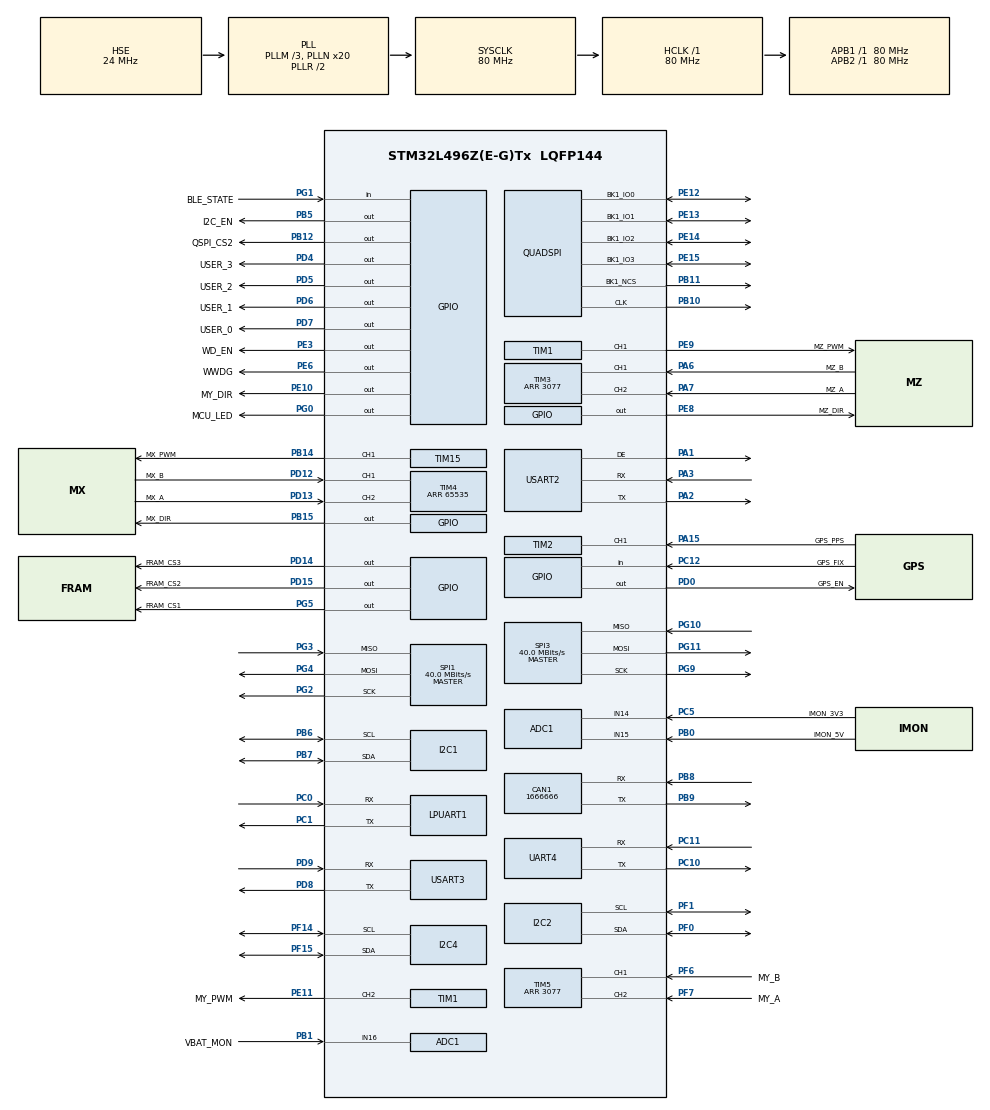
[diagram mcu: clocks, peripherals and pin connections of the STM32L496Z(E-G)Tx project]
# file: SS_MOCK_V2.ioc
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ADC1.Channel-0\#ChannelRegularConversion=ADC_CHANNEL_16
ADC1.NbrOfConversionFlag=1
ADC1.OffsetNumber-0\#ChannelRegularConversion=ADC_OFFSET_NONE
ADC1.Rank-0\#ChannelRegularConversion=1
ADC1.SamplingTime-0\#ChannelRegularConversion=ADC_SAMPLETIME_2CYCLES_5
ADC1.master=1
CAN1.BS1=CAN_BS1_1TQ
CAN1.BS2=CAN_BS2_1TQ
CAN1.CalculateBaudRate=1666666
CAN1.CalculateTimeBit=600
CAN1.CalculateTimeQuantum=200.0
I2C1.Timing=0x10D19CE4
I2C2.Timing=0x10D19CE4
I2C4.Timing=0x10D19CE4
Mcu.Family=STM32L4
Mcu.Name=STM32L496Z(E-G)Tx
Mcu.Package=LQFP144
NVIC.PriorityGroup=NVIC_PRIORITYGROUP_4
NVIC.TIM7_IRQn=true\:0\:0\:false\:false\:true\:true\:true\:true
PA1.Mode=Hardware Flow Control (RS485)
PA1.Signal=USART2_DE
PA13\ (JTMS/SWDIO).Mode=Trace_Asynchronous_SW
PA13\ (JTMS/SWDIO).Signal=SYS_JTMS-SWDIO
PA14\ (JTCK/SWCLK).Mode=Trace_Asynchronous_SW
PA14\ (JTCK/SWCLK).Signal=SYS_JTCK-SWCLK
PA15\ (JTDI).GPIO_Label=GPS_PPS
PA15\ (JTDI).Signal=S_TIM2_CH1
PA2.Mode=Asynchronous
PA2.Signal=USART2_TX
PA3.Mode=Asynchronous
PA3.Signal=USART2_RX
PA6.GPIO_Label=MZ_B
PA6.Signal=S_TIM3_CH1
PA7.GPIO_Label=MZ_A
PA7.Signal=S_TIM3_CH2
PB0.GPIO_Label=IMON_5V
PB0.Signal=ADCx_IN15
PB1.GPIO_Label=VBAT_MON
PB1.Signal=ADCx_IN16
PB10.Mode=Single Bank 1
PB10.Signal=QUADSPI_CLK
PB11.Mode=Single Bank 1
PB11.Signal=QUADSPI_BK1_NCS
PB12.GPIO_Label=QSPI_CS2
PB12.Signal=GPIO_Output
PB14.GPIO_Label=MX_PWM
PB14.Signal=S_TIM15_CH1
PB15.GPIO_Label=MX_DIR
PB15.Signal=GPIO_Output
PB3\ (JTDO/TRACESWO).Mode=Trace_Asynchronous_SW
PB3\ (JTDO/TRACESWO).Signal=SYS_JTDO-SWO
PB5.GPIO_Label=I2C_EN
PB5.Signal=GPIO_Output
PB6.Mode=I2C
PB6.Signal=I2C1_SCL
PB7.Mode=I2C
PB7.Signal=I2C1_SDA
PB8.Mode=CAN_Activate
PB8.Signal=CAN1_RX
PB9.Mode=CAN_Activate
PB9.Signal=CAN1_TX
PC0.Mode=Asynchronous
PC0.Signal=LPUART1_RX
PC1.Mode=Asynchronous
PC1.Signal=LPUART1_TX
PC10.Mode=Asynchronous
PC10.Signal=UART4_TX
PC11.Mode=Asynchronous
PC11.Signal=UART4_RX
PC12.GPIO_Label=GPS_FIX
PC12.Signal=GPIO_Input
PC14-OSC32_IN\ (PC14).Mode=LSE-External-Oscillator
PC14-OSC32_IN\ (PC14).Signal=RCC_OSC32_IN
PC15-OSC32_OUT\ (PC15).Mode=LSE-External-Oscillator
PC15-OSC32_OUT\ (PC15).Signal=RCC_OSC32_OUT
PC5.GPIO_Label=IMON_3V3
PC5.Signal=ADCx_IN14
PD0.GPIO_Label=GPS_EN
PD0.Signal=GPIO_Output
PD12.GPIO_Label=MX_B
PD12.Signal=S_TIM4_CH1
PD13.GPIO_Label=MX_A
PD13.Signal=S_TIM4_CH2
PD14.GPIO_Label=FRAM_CS3
PD14.Signal=GPIO_Output
PD15.GPIO_Label=FRAM_CS2
PD15.Signal=GPIO_Output
PD4.GPIO_Label=USER_3
PD4.Signal=GPIO_Output
PD5.GPIO_Label=USER_2
PD5.Signal=GPIO_Output
PD6.GPIO_Label=USER_1
PD6.Signal=GPIO_Output
PD7.GPIO_Label=USER_0
PD7.Signal=GPIO_Output
PD8.Mode=Asynchronous
PD8.Signal=USART3_TX
PD9.Mode=Asynchronous
PD9.Signal=USART3_RX
PE10.GPIO_Label=MY_DIR
PE10.Signal=GPIO_Output
PE11.GPIO_Label=MY_PWM
PE11.Signal=S_TIM1_CH2
PE12.Mode=Single Bank 1
PE12.Signal=QUADSPI_BK1_IO0
PE13.Mode=Single Bank 1
PE13.Signal=QUADSPI_BK1_IO1
PE14.Mode=Single Bank 1
PE14.Signal=QUADSPI_BK1_IO2
PE15.Mode=Single Bank 1
PE15.Signal=QUADSPI_BK1_IO3
PE3.GPIO_Label=WD_EN
PE3.Signal=GPIO_Output
PE6.GPIO_Label=WWDG
PE6.Signal=GPIO_Output
PE8.GPIO_Label=MZ_DIR
PE8.Signal=GPIO_Output
PE9.GPIO_Label=MZ_PWM
PE9.Signal=S_TIM1_CH1
PF0.Mode=I2C
PF0.Signal=I2C2_SDA
PF1.Mode=I2C
PF1.Signal=I2C2_SCL
PF14.Mode=I2C
PF14.Signal=I2C4_SCL
PF15.Mode=I2C
PF15.Signal=I2C4_SDA
PF6.GPIO_Label=MY_B
PF6.Signal=S_TIM5_CH1
PF7.GPIO_Label=MY_A
PF7.Signal=S_TIM5_CH2
PG0.GPIO_Label=MCU_LED
PG0.Signal=GPIO_Output
PG1.GPIO_Label=BLE_STATE
PG1.Signal=GPIO_Input
PG10.Mode=Full_Duplex_Master
PG10.Signal=SPI3_MISO
PG11.Mode=Full_Duplex_Master
PG11.Signal=SPI3_MOSI
PG2.Mode=Full_Duplex_Master
PG2.Signal=SPI1_SCK
PG3.Mode=Full_Duplex_Master
PG3.Signal=SPI1_MISO
PG4.Mode=Full_Duplex_Master
PG4.Signal=SPI1_MOSI
PG5.GPIO_Label=FRAM_CS1
PG5.Signal=GPIO_Output
PG9.Mode=Full_Duplex_Master
PG9.Signal=SPI3_SCK
PH0-OSC_IN\ (PH0).Mode=HSE-External-Oscillator
PH0-OSC_IN\ (PH0).Signal=RCC_OSC_IN
PH1-OSC_OUT\ (PH1).Mode=HSE-External-Oscillator
PH1-OSC_OUT\ (PH1).Signal=RCC_OSC_OUT
ProjectManager.HeapSize=0x200
ProjectManager.StackSize=0x400
ProjectManager.TargetToolchain=STM32CubeIDE
RCC.ADCFreq_Value=32000000
RCC.AHBFreq_Value=80000000
RCC.APB1Freq_Value=80000000
RCC.APB1TimFreq_Value=80000000
RCC.APB2Freq_Value=80000000
RCC.APB2TimFreq_Value=80000000
RCC.CortexFreq_Value=80000000
RCC.HCLKFreq_Value=80000000
RCC.HSE_VALUE=24000000
RCC.HSI48_VALUE=48000000
RCC.HSI_VALUE=16000000
RCC.MSI_VALUE=4000000
RCC.PLLM=3
RCC.PLLN=20
RCC.PLLSourceVirtual=RCC_PLLSOURCE_HSE
RCC.SYSCLKFreq_VALUE=80000000
RCC.SYSCLKSource=RCC_SYSCLKSOURCE_PLLCLK
RCC.USBFreq_Value=32000000
RCC.VCOOutputFreq_Value=160000000
SH.ADCx_IN14.0=ADC1_IN14,IN14-Single-Ended
SH.ADCx_IN15.0=ADC1_IN15,IN15-Single-Ended
SH.ADCx_IN16.0=ADC1_IN16,IN16-Single-Ended
SH.S_TIM15_CH1.0=TIM15_CH1,PWM Generation1 CH1
SH.S_TIM1_CH1.0=TIM1_CH1,PWM Generation1 CH1
SH.S_TIM1_CH2.0=TIM1_CH2,PWM Generation2 CH2
SH.S_TIM2_CH1.0=TIM2_CH1,Input_Capture1_from_TI1
SH.S_TIM3_CH1.0=TIM3_CH1,Encoder_Interface
SH.S_TIM3_CH2.0=TIM3_CH2,Encoder_Interface
SH.S_TIM4_CH1.0=TIM4_CH1,Encoder_Interface
SH.S_TIM4_CH2.0=TIM4_CH2,Encoder_Interface
SH.S_TIM5_CH1.0=TIM5_CH1,Encoder_Interface
SH.S_TIM5_CH2.0=TIM5_CH2,Encoder_Interface
SPI1.BaudRatePrescaler=SPI_BAUDRATEPRESCALER_2
SPI1.CalculateBaudRate=40.0 MBits/s
SPI1.Direction=SPI_DIRECTION_2LINES
SPI1.Mode=SPI_MODE_MASTER
SPI1.VirtualType=VM_MASTER
SPI3.BaudRatePrescaler=SPI_BAUDRATEPRESCALER_2
SPI3.CalculateBaudRate=40.0 MBits/s
SPI3.Direction=SPI_DIRECTION_2LINES
SPI3.Mode=SPI_MODE_MASTER
SPI3.VirtualType=VM_MASTER
TIM1.AutoReloadPreload=TIM_AUTORELOAD_PRELOAD_ENABLE
TIM1.Channel-PWM\ Generation1\ CH1=TIM_CHANNEL_1
TIM1.Channel-PWM\ Generation2\ CH2=TIM_CHANNEL_2
TIM1.Period=3077
TIM15.AutoReloadPreload=TIM_AUTORELOAD_PRELOAD_ENABLE
TIM15.Channel-PWM\ Generation1\ CH1=TIM_CHANNEL_1
TIM15.Period=3077
TIM2.Channel-Input_Capture1_from_TI1=TIM_CHANNEL_1
TIM3.Period=3077
TIM4.Period=65535
TIM5.Period=3077
TIM7.Prescaler=15
USART2.VirtualMode-Asynchronous=VM_ASYNC
USART2.VirtualMode-Hardware\ Flow\ Control\ (RS485)=VM_ASYNC
USART3.VirtualMode-Asynchronous=VM_ASYNC
VP_TIM1_VS_ClockSourceINT.Mode=Internal
VP_TIM7_VS_ClockSourceINT.Mode=Enable_Timer
board=custom

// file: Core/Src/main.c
/* USER CODE BEGIN Header */
/**
  ******************************************************************************
  * @file           : main.c
  * @brief          : Main program body
  ******************************************************************************
  * @attention
  *
  * Copyright (c) 2025 STMicroelectronics.
  * All rights reserved.
  *
  * This software is licensed under terms that can be found in the LICENSE file
  * in the root directory of this software component.
  * If no LICENSE file comes with this software, it is provided AS-IS.
  *
  ******************************************************************************
  */
/* USER CODE END Header */
#include "main.h"

/* USER CODE BEGIN Includes */

#include "bno055.h"
#include "bno055_regs.h"
#include "mcp9808.h"
#include "LTR-329.h"
#include "motorencoder.h"
#include "motordrivers.h"

/* USER CODE END Includes */

/* USER CODE BEGIN PD */
//#define ENCODER_MAX_COUNT 50000

/* USER CODE END PD */

ADC_HandleTypeDef hadc1;

CAN_HandleTypeDef hcan1;

I2C_HandleTypeDef hi2c1;
I2C_HandleTypeDef hi2c2;
I2C_HandleTypeDef hi2c4;

UART_HandleTypeDef hlpuart1;
UART_HandleTypeDef huart4;
UART_HandleTypeDef huart2;
UART_HandleTypeDef huart3;

QSPI_HandleTypeDef hqspi;

SPI_HandleTypeDef hspi1;
SPI_HandleTypeDef hspi3;

TIM_HandleTypeDef htim1;
TIM_HandleTypeDef htim2;
TIM_HandleTypeDef htim3;
TIM_HandleTypeDef htim4;
TIM_HandleTypeDef htim5;
TIM_HandleTypeDef htim7;
TIM_HandleTypeDef htim15;

void SystemClock_Config(void);
static void MX_GPIO_Init(void);
static void MX_QUADSPI_Init(void);
static void MX_TIM1_Init(void);
static void MX_TIM3_Init(void);
static void MX_TIM4_Init(void);
static void MX_TIM5_Init(void);
static void MX_UART4_Init(void);
static void MX_CAN1_Init(void);
static void MX_I2C2_Init(void);
static void MX_TIM2_Init(void);
static void MX_USART2_UART_Init(void);
static void MX_USART3_UART_Init(void);
static void MX_ADC1_Init(void);
static void MX_I2C4_Init(void);
static void MX_LPUART1_UART_Init(void);
static void MX_SPI3_Init(void);
static void MX_I2C1_Init(void);
static void MX_SPI1_Init(void);
static void MX_TIM15_Init(void);
static void MX_TIM7_Init(void);

/* USER CODE BEGIN 0 */

BNO055_Axis_Vec_t          BNO055_Vector;

typedef enum{
    CCW,
    CW
} ORIENTATION_DIR;

ORIENTATION_DIR initialDir = CW;
float curr_reading = 0.0;

void average(float* y_avg, float* z_avg, uint8_t sample_size){

    *y_avg = 0;
    *z_avg = 0;

    for(uint8_t i = 0; i < sample_size; i++){
        BNO055_Get_Gravity_Vec(&BNO055_Vector);
        *y_avg += BNO055_Vector.y;
        *z_avg += BNO055_Vector.z;
        HAL_Delay(12);
    }
    *y_avg /= (float)sample_size;
    *z_avg /= (float)sample_size;
}

ORIENTATION_DIR getDir(float y){
    return (y > 0) ? CCW : CW;
}

//Encoder Variables and Call
/*
int32_t deltacount;
uint32_t counter = 0;
uint32_t previousCounter = 0;

float velocity = 0;
*/
// if have more motors just change variable name and add more variables
static motor_var_enc motor_x_var;
static motor_var_enc motor_y_var;
static motor_var_enc motor_z_var;

static Motor X_Motor;
static Motor Y_Motor;
static Motor Z_Motor;

LTR_329 SunSensor;
MCP_9808 TempSensor;

// adrian was here
/* USER CODE END 0 */

int main(void)
{

  /* USER CODE BEGIN 1 */

    /* Custom Axis */
    BNO055_AXIS_CONFIG_t axis_config = {.x = BNO055_Z_AXIS,
                                        .y = BNO055_Y_AXIS,
                                        .z = BNO055_X_AXIS};

  /* USER CODE END 1 */

  /* MCU Configuration--------------------------------------------------------*/

  /* Reset of all peripherals, Initializes the Flash interface and the Systick. */
  HAL_Init();

  /* Configure the system clock */
  SystemClock_Config();

  /* Initialize all configured peripherals */
  MX_GPIO_Init();
  MX_QUADSPI_Init();
  MX_TIM1_Init();
  MX_TIM3_Init();
  MX_TIM4_Init();
  MX_TIM5_Init();
  MX_UART4_Init();
  MX_CAN1_Init();
  MX_I2C2_Init();
  MX_TIM2_Init();
  MX_USART2_UART_Init();
  MX_USART3_UART_Init();
  MX_ADC1_Init();
  MX_I2C4_Init();
  MX_LPUART1_UART_Init();
  MX_SPI3_Init();
  MX_I2C1_Init();
  MX_SPI1_Init();
  MX_TIM15_Init();
  MX_TIM7_Init();
  /* USER CODE BEGIN 2 */

  //IMU STUFF
  BNO055_I2C_Mount(&hi2c2);
  if(BNO055_Init() != BNO055_SUCCESS)
      while(1);
  if(BNO055_Set_OP_Mode(NDOF) != BNO055_SUCCESS)
      while(1);
  if(BNO055_Set_Axis(&axis_config) != BNO055_SUCCESS)
      while(1);

  float y_avg = 0.0;
  float z_avg = 0.0;

  //MOTOR CONTROLLER INIT
  init_default_motor(&X_Motor, &htim15, TIM_CHANNEL_1, GPIOB, GPIO_PIN_15);
  init_default_motor(&Y_Motor, &htim1, TIM_CHANNEL_2, GPIOE, GPIO_PIN_11);
  init_default_motor(&Z_Motor, &htim1, TIM_CHANNEL_1, GPIOE, GPIO_PIN_9);

  //starts encoder for all x,y,z listed from top to bottom
  Motor_Enc_Start(&htim4);
  Motor_Enc_Start(&htim5);
  Motor_Enc_Start(&htim3);

  //initializes the variables within the motor calc
  Motor_Enc_Init(&motor_x_var);
  Motor_Enc_Init(&motor_y_var);
  Motor_Enc_Init(&motor_z_var);

  //tim 7 is a 10ms interrupt flag
  HAL_TIM_Base_Start_IT(&htim7);

  //tempsensor init
  //check if this is the correct i2c for it
  uint8_t TempInitStatus = MCP_9808_Init(&hi2c1);

  if (TempInitStatus != 0){
      // Sensor initialization failed
      Error_Handler();
  }

  //starts the pwm
  //HAL_TIM_PWM_Start(&htim15, TIM_CHANNEL_1);

  //HAL_GPIO_WritePin(GPIOE, WD_EN_Pin, SET);
  /* USER CODE END 2 */

  /* Infinite loop */
  /* USER CODE BEGIN WHILE */
  while (1)
  {

	HAL_GPIO_TogglePin(MCU_LED_GPIO_Port, MCU_LED_Pin);
	MCP_9808_ReadTemp(&TempSensor);
	HAL_Delay(1000);
/*
	//driving motor

	drive_motor(&X_Motor, 1);
	drive_motor(&Y_Motor, 0.5);
	drive_motor(&Z_Motor, 0.25);
*/

  }

    /* USER CODE END WHILE */

}

void SystemClock_Config(void)
{
  RCC_OscInitTypeDef RCC_OscInitStruct = {0};
  RCC_ClkInitTypeDef RCC_ClkInitStruct = {0};

  /** Configure the main internal regulator output voltage
  */
  if (HAL_PWREx_ControlVoltageScaling(PWR_REGULATOR_VOLTAGE_SCALE1) != HAL_OK)
  {
    Error_Handler();
  }

  /** Initializes the RCC Oscillators according to the specified parameters
  * in the RCC_OscInitTypeDef structure.
  */
  RCC_OscInitStruct.OscillatorType = RCC_OSCILLATORTYPE_HSE;
  RCC_OscInitStruct.HSEState = RCC_HSE_ON;
  RCC_OscInitStruct.PLL.PLLState = RCC_PLL_ON;
  RCC_OscInitStruct.PLL.PLLSource = RCC_PLLSOURCE_HSE;
  RCC_OscInitStruct.PLL.PLLM = 3;
  RCC_OscInitStruct.PLL.PLLN = 20;
  RCC_OscInitStruct.PLL.PLLP = RCC_PLLP_DIV2;
  RCC_OscInitStruct.PLL.PLLQ = RCC_PLLQ_DIV2;
  RCC_OscInitStruct.PLL.PLLR = RCC_PLLR_DIV2;
  if (HAL_RCC_OscConfig(&RCC_OscInitStruct) != HAL_OK)
  {
    Error_Handler();
  }

  /** Initializes the CPU, AHB and APB buses clocks
  */
  RCC_ClkInitStruct.ClockType = RCC_CLOCKTYPE_HCLK|RCC_CLOCKTYPE_SYSCLK
                              |RCC_CLOCKTYPE_PCLK1|RCC_CLOCKTYPE_PCLK2;
  RCC_ClkInitStruct.SYSCLKSource = RCC_SYSCLKSOURCE_PLLCLK;
  RCC_ClkInitStruct.AHBCLKDivider = RCC_SYSCLK_DIV1;
  RCC_ClkInitStruct.APB1CLKDivider = RCC_HCLK_DIV1;
  RCC_ClkInitStruct.APB2CLKDivider = RCC_HCLK_DIV1;

  if (HAL_RCC_ClockConfig(&RCC_ClkInitStruct, FLASH_LATENCY_4) != HAL_OK)
  {
    Error_Handler();
  }
}

static void MX_ADC1_Init(void)
{

  ADC_MultiModeTypeDef multimode = {0};
  ADC_ChannelConfTypeDef sConfig = {0};

  /** Common config
  */
  hadc1.Instance = ADC1;
  hadc1.Init.ClockPrescaler = ADC_CLOCK_ASYNC_DIV1;
  hadc1.Init.Resolution = ADC_RESOLUTION_12B;
  hadc1.Init.DataAlign = ADC_DATAALIGN_RIGHT;
  hadc1.Init.ScanConvMode = ADC_SCAN_DISABLE;
  hadc1.Init.EOCSelection = ADC_EOC_SINGLE_CONV;
  hadc1.Init.LowPowerAutoWait = DISABLE;
  hadc1.Init.ContinuousConvMode = DISABLE;
  hadc1.Init.NbrOfConversion = 1;
  hadc1.Init.DiscontinuousConvMode = DISABLE;
  hadc1.Init.ExternalTrigConv = ADC_SOFTWARE_START;
  hadc1.Init.ExternalTrigConvEdge = ADC_EXTERNALTRIGCONVEDGE_NONE;
  hadc1.Init.DMAContinuousRequests = DISABLE;
  hadc1.Init.Overrun = ADC_OVR_DATA_PRESERVED;
  hadc1.Init.OversamplingMode = DISABLE;
  if (HAL_ADC_Init(&hadc1) != HAL_OK)
  {
    Error_Handler();
  }

  /** Configure the ADC multi-mode
  */
  multimode.Mode = ADC_MODE_INDEPENDENT;
  if (HAL_ADCEx_MultiModeConfigChannel(&hadc1, &multimode) != HAL_OK)
  {
    Error_Handler();
  }

  /** Configure Regular Channel
  */
  sConfig.Channel = ADC_CHANNEL_16;
  sConfig.Rank = ADC_REGULAR_RANK_1;
  sConfig.SamplingTime = ADC_SAMPLETIME_2CYCLES_5;
  sConfig.SingleDiff = ADC_SINGLE_ENDED;
  sConfig.OffsetNumber = ADC_OFFSET_NONE;
  sConfig.Offset = 0;
  if (HAL_ADC_ConfigChannel(&hadc1, &sConfig) != HAL_OK)
  {
    Error_Handler();
  }

}

static void MX_CAN1_Init(void)
{

  hcan1.Instance = CAN1;
  hcan1.Init.Prescaler = 16;
  hcan1.Init.Mode = CAN_MODE_NORMAL;
  hcan1.Init.SyncJumpWidth = CAN_SJW_1TQ;
  hcan1.Init.TimeSeg1 = CAN_BS1_1TQ;
  hcan1.Init.TimeSeg2 = CAN_BS2_1TQ;
  hcan1.Init.TimeTriggeredMode = DISABLE;
  hcan1.Init.AutoBusOff = DISABLE;
  hcan1.Init.AutoWakeUp = DISABLE;
  hcan1.Init.AutoRetransmission = DISABLE;
  hcan1.Init.ReceiveFifoLocked = DISABLE;
  hcan1.Init.TransmitFifoPriority = DISABLE;
  if (HAL_CAN_Init(&hcan1) != HAL_OK)
  {
    Error_Handler();
  }

}

static void MX_I2C1_Init(void)
{

  hi2c1.Instance = I2C1;
  hi2c1.Init.Timing = 0x10D19CE4;
  hi2c1.Init.OwnAddress1 = 0;
  hi2c1.Init.AddressingMode = I2C_ADDRESSINGMODE_7BIT;
  hi2c1.Init.DualAddressMode = I2C_DUALADDRESS_DISABLE;
  hi2c1.Init.OwnAddress2 = 0;
  hi2c1.Init.OwnAddress2Masks = I2C_OA2_NOMASK;
  hi2c1.Init.GeneralCallMode = I2C_GENERALCALL_DISABLE;
  hi2c1.Init.NoStretchMode = I2C_NOSTRETCH_DISABLE;
  if (HAL_I2C_Init(&hi2c1) != HAL_OK)
  {
    Error_Handler();
  }

  /** Configure Analogue filter
  */
  if (HAL_I2CEx_ConfigAnalogFilter(&hi2c1, I2C_ANALOGFILTER_ENABLE) != HAL_OK)
  {
    Error_Handler();
  }

  /** Configure Digital filter
  */
  if (HAL_I2CEx_ConfigDigitalFilter(&hi2c1, 0) != HAL_OK)
  {
    Error_Handler();
  }

}

static void MX_I2C2_Init(void)
{

  hi2c2.Instance = I2C2;
  hi2c2.Init.Timing = 0x10D19CE4;
  hi2c2.Init.OwnAddress1 = 0;
  hi2c2.Init.AddressingMode = I2C_ADDRESSINGMODE_7BIT;
  hi2c2.Init.DualAddressMode = I2C_DUALADDRESS_DISABLE;
  hi2c2.Init.OwnAddress2 = 0;
  hi2c2.Init.OwnAddress2Masks = I2C_OA2_NOMASK;
  hi2c2.Init.GeneralCallMode = I2C_GENERALCALL_DISABLE;
  hi2c2.Init.NoStretchMode = I2C_NOSTRETCH_DISABLE;
  if (HAL_I2C_Init(&hi2c2) != HAL_OK)
  {
    Error_Handler();
  }

  /** Configure Analogue filter
  */
  if (HAL_I2CEx_ConfigAnalogFilter(&hi2c2, I2C_ANALOGFILTER_ENABLE) != HAL_OK)
  {
    Error_Handler();
  }

  /** Configure Digital filter
  */
  if (HAL_I2CEx_ConfigDigitalFilter(&hi2c2, 0) != HAL_OK)
  {
    Error_Handler();
  }

}

static void MX_I2C4_Init(void)
{

  hi2c4.Instance = I2C4;
  hi2c4.Init.Timing = 0x10D19CE4;
  hi2c4.Init.OwnAddress1 = 0;
  hi2c4.Init.AddressingMode = I2C_ADDRESSINGMODE_7BIT;
  hi2c4.Init.DualAddressMode = I2C_DUALADDRESS_DISABLE;
  hi2c4.Init.OwnAddress2 = 0;
  hi2c4.Init.OwnAddress2Masks = I2C_OA2_NOMASK;
  hi2c4.Init.GeneralCallMode = I2C_GENERALCALL_DISABLE;
  hi2c4.Init.NoStretchMode = I2C_NOSTRETCH_DISABLE;
  if (HAL_I2C_Init(&hi2c4) != HAL_OK)
  {
    Error_Handler();
  }

  /** Configure Analogue filter
  */
  if (HAL_I2CEx_ConfigAnalogFilter(&hi2c4, I2C_ANALOGFILTER_ENABLE) != HAL_OK)
  {
    Error_Handler();
  }

  /** Configure Digital filter
  */
  if (HAL_I2CEx_ConfigDigitalFilter(&hi2c4, 0) != HAL_OK)
  {
    Error_Handler();
  }

}

static void MX_LPUART1_UART_Init(void)
{

  hlpuart1.Instance = LPUART1;
  hlpuart1.Init.BaudRate = 209700;
  hlpuart1.Init.WordLength = UART_WORDLENGTH_7B;
  hlpuart1.Init.StopBits = UART_STOPBITS_1;
  hlpuart1.Init.Parity = UART_PARITY_NONE;
  hlpuart1.Init.Mode = UART_MODE_TX_RX;
  hlpuart1.Init.HwFlowCtl = UART_HWCONTROL_NONE;
  hlpuart1.Init.OneBitSampling = UART_ONE_BIT_SAMPLE_DISABLE;
  hlpuart1.AdvancedInit.AdvFeatureInit = UART_ADVFEATURE_NO_INIT;
  if (HAL_UART_Init(&hlpuart1) != HAL_OK)
  {
    Error_Handler();
  }

}

static void MX_UART4_Init(void)
{

  huart4.Instance = UART4;
  huart4.Init.BaudRate = 115200;
  huart4.Init.WordLength = UART_WORDLENGTH_8B;
  huart4.Init.StopBits = UART_STOPBITS_1;
  huart4.Init.Parity = UART_PARITY_NONE;
  huart4.Init.Mode = UART_MODE_TX_RX;
  huart4.Init.HwFlowCtl = UART_HWCONTROL_NONE;
  huart4.Init.OverSampling = UART_OVERSAMPLING_16;
  huart4.Init.OneBitSampling = UART_ONE_BIT_SAMPLE_DISABLE;
  huart4.AdvancedInit.AdvFeatureInit = UART_ADVFEATURE_NO_INIT;
  if (HAL_UART_Init(&huart4) != HAL_OK)
  {
    Error_Handler();
  }

}

static void MX_USART2_UART_Init(void)
{

  huart2.Instance = USART2;
  huart2.Init.BaudRate = 115200;
  huart2.Init.WordLength = UART_WORDLENGTH_8B;
  huart2.Init.StopBits = UART_STOPBITS_1;
  huart2.Init.Parity = UART_PARITY_NONE;
  huart2.Init.Mode = UART_MODE_TX_RX;
  huart2.Init.HwFlowCtl = UART_HWCONTROL_NONE;
  huart2.Init.OverSampling = UART_OVERSAMPLING_16;
  huart2.Init.OneBitSampling = UART_ONE_BIT_SAMPLE_DISABLE;
  huart2.AdvancedInit.AdvFeatureInit = UART_ADVFEATURE_NO_INIT;
  if (HAL_RS485Ex_Init(&huart2, UART_DE_POLARITY_HIGH, 0, 0) != HAL_OK)
  {
    Error_Handler();
  }

}

static void MX_USART3_UART_Init(void)
{

  huart3.Instance = USART3;
  huart3.Init.BaudRate = 115200;
  huart3.Init.WordLength = UART_WORDLENGTH_8B;
  huart3.Init.StopBits = UART_STOPBITS_1;
  huart3.Init.Parity = UART_PARITY_NONE;
  huart3.Init.Mode = UART_MODE_TX_RX;
  huart3.Init.HwFlowCtl = UART_HWCONTROL_NONE;
  huart3.Init.OverSampling = UART_OVERSAMPLING_16;
  huart3.Init.OneBitSampling = UART_ONE_BIT_SAMPLE_DISABLE;
  huart3.AdvancedInit.AdvFeatureInit = UART_ADVFEATURE_NO_INIT;
  if (HAL_UART_Init(&huart3) != HAL_OK)
  {
    Error_Handler();
  }

}

static void MX_QUADSPI_Init(void)
{

  /* QUADSPI parameter configuration*/
  hqspi.Instance = QUADSPI;
  hqspi.Init.ClockPrescaler = 255;
  hqspi.Init.FifoThreshold = 1;
  hqspi.Init.SampleShifting = QSPI_SAMPLE_SHIFTING_NONE;
  hqspi.Init.FlashSize = 1;
  hqspi.Init.ChipSelectHighTime = QSPI_CS_HIGH_TIME_1_CYCLE;
  hqspi.Init.ClockMode = QSPI_CLOCK_MODE_0;
  hqspi.Init.FlashID = QSPI_FLASH_ID_1;
  hqspi.Init.DualFlash = QSPI_DUALFLASH_DISABLE;
  if (HAL_QSPI_Init(&hqspi) != HAL_OK)
  {
    Error_Handler();
  }

}

static void MX_SPI1_Init(void)
{

  /* SPI1 parameter configuration*/
  hspi1.Instance = SPI1;
  hspi1.Init.Mode = SPI_MODE_MASTER;
  hspi1.Init.Direction = SPI_DIRECTION_2LINES;
  hspi1.Init.DataSize = SPI_DATASIZE_4BIT;
  hspi1.Init.CLKPolarity = SPI_POLARITY_LOW;
  hspi1.Init.CLKPhase = SPI_PHASE_1EDGE;
  hspi1.Init.NSS = SPI_NSS_SOFT;
  hspi1.Init.BaudRatePrescaler = SPI_BAUDRATEPRESCALER_2;
  hspi1.Init.FirstBit = SPI_FIRSTBIT_MSB;
  hspi1.Init.TIMode = SPI_TIMODE_DISABLE;
  hspi1.Init.CRCCalculation = SPI_CRCCALCULATION_DISABLE;
  hspi1.Init.CRCPolynomial = 7;
  hspi1.Init.CRCLength = SPI_CRC_LENGTH_DATASIZE;
  hspi1.Init.NSSPMode = SPI_NSS_PULSE_ENABLE;
  if (HAL_SPI_Init(&hspi1) != HAL_OK)
  {
    Error_Handler();
  }

}

static void MX_SPI3_Init(void)
{

  /* SPI3 parameter configuration*/
  hspi3.Instance = SPI3;
  hspi3.Init.Mode = SPI_MODE_MASTER;
  hspi3.Init.Direction = SPI_DIRECTION_2LINES;
  hspi3.Init.DataSize = SPI_DATASIZE_4BIT;
  hspi3.Init.CLKPolarity = SPI_POLARITY_LOW;
  hspi3.Init.CLKPhase = SPI_PHASE_1EDGE;
  hspi3.Init.NSS = SPI_NSS_SOFT;
  hspi3.Init.BaudRatePrescaler = SPI_BAUDRATEPRESCALER_2;
  hspi3.Init.FirstBit = SPI_FIRSTBIT_MSB;
  hspi3.Init.TIMode = SPI_TIMODE_DISABLE;
  hspi3.Init.CRCCalculation = SPI_CRCCALCULATION_DISABLE;
  hspi3.Init.CRCPolynomial = 7;
  hspi3.Init.CRCLength = SPI_CRC_LENGTH_DATASIZE;
  hspi3.Init.NSSPMode = SPI_NSS_PULSE_ENABLE;
  if (HAL_SPI_Init(&hspi3) != HAL_OK)
  {
    Error_Handler();
  }

}

static void MX_TIM1_Init(void)
{

  TIM_ClockConfigTypeDef sClockSourceConfig = {0};
  TIM_MasterConfigTypeDef sMasterConfig = {0};
  TIM_OC_InitTypeDef sConfigOC = {0};
  TIM_BreakDeadTimeConfigTypeDef sBreakDeadTimeConfig = {0};

  htim1.Instance = TIM1;
  htim1.Init.Prescaler = 0;
  htim1.Init.CounterMode = TIM_COUNTERMODE_UP;
  htim1.Init.Period = 3077;
  htim1.Init.ClockDivision = TIM_CLOCKDIVISION_DIV1;
  htim1.Init.RepetitionCounter = 0;
  htim1.Init.AutoReloadPreload = TIM_AUTORELOAD_PRELOAD_ENABLE;
  if (HAL_TIM_Base_Init(&htim1) != HAL_OK)
  {
    Error_Handler();
  }
  sClockSourceConfig.ClockSource = TIM_CLOCKSOURCE_INTERNAL;
  if (HAL_TIM_ConfigClockSource(&htim1, &sClockSourceConfig) != HAL_OK)
  {
    Error_Handler();
  }
  if (HAL_TIM_PWM_Init(&htim1) != HAL_OK)
  {
    Error_Handler();
  }
  sMasterConfig.MasterOutputTrigger = TIM_TRGO_RESET;
  sMasterConfig.MasterOutputTrigger2 = TIM_TRGO2_RESET;
  sMasterConfig.MasterSlaveMode = TIM_MASTERSLAVEMODE_DISABLE;
  if (HAL_TIMEx_MasterConfigSynchronization(&htim1, &sMasterConfig) != HAL_OK)
  {
    Error_Handler();
  }
  sConfigOC.OCMode = TIM_OCMODE_PWM1;
  sConfigOC.Pulse = 0;
  sConfigOC.OCPolarity = TIM_OCPOLARITY_HIGH;
  sConfigOC.OCNPolarity = TIM_OCNPOLARITY_HIGH;
  sConfigOC.OCFastMode = TIM_OCFAST_DISABLE;
  sConfigOC.OCIdleState = TIM_OCIDLESTATE_RESET;
  sConfigOC.OCNIdleState = TIM_OCNIDLESTATE_RESET;
  if (HAL_TIM_PWM_ConfigChannel(&htim1, &sConfigOC, TIM_CHANNEL_1) != HAL_OK)
  {
    Error_Handler();
  }
  if (HAL_TIM_PWM_ConfigChannel(&htim1, &sConfigOC, TIM_CHANNEL_2) != HAL_OK)
  {
    Error_Handler();
  }
  sBreakDeadTimeConfig.OffStateRunMode = TIM_OSSR_DISABLE;
  sBreakDeadTimeConfig.OffStateIDLEMode = TIM_OSSI_DISABLE;
  sBreakDeadTimeConfig.LockLevel = TIM_LOCKLEVEL_OFF;
  sBreakDeadTimeConfig.DeadTime = 0;
  sBreakDeadTimeConfig.BreakState = TIM_BREAK_DISABLE;
  sBreakDeadTimeConfig.BreakPolarity = TIM_BREAKPOLARITY_HIGH;
  sBreakDeadTimeConfig.BreakFilter = 0;
  sBreakDeadTimeConfig.Break2State = TIM_BREAK2_DISABLE;
  sBreakDeadTimeConfig.Break2Polarity = TIM_BREAK2POLARITY_HIGH;
  sBreakDeadTimeConfig.Break2Filter = 0;
  sBreakDeadTimeConfig.AutomaticOutput = TIM_AUTOMATICOUTPUT_DISABLE;
  if (HAL_TIMEx_ConfigBreakDeadTime(&htim1, &sBreakDeadTimeConfig) != HAL_OK)
  {
    Error_Handler();
  }
  HAL_TIM_MspPostInit(&htim1);

}

static void MX_TIM2_Init(void)
{

  TIM_MasterConfigTypeDef sMasterConfig = {0};
  TIM_IC_InitTypeDef sConfigIC = {0};

  htim2.Instance = TIM2;
  htim2.Init.Prescaler = 0;
  htim2.Init.CounterMode = TIM_COUNTERMODE_UP;
  htim2.Init.Period = 4294967295;
  htim2.Init.ClockDivision = TIM_CLOCKDIVISION_DIV1;
  htim2.Init.AutoReloadPreload = TIM_AUTORELOAD_PRELOAD_DISABLE;
  if (HAL_TIM_IC_Init(&htim2) != HAL_OK)
  {
    Error_Handler();
  }
  sMasterConfig.MasterOutputTrigger = TIM_TRGO_RESET;
  sMasterConfig.MasterSlaveMode = TIM_MASTERSLAVEMODE_DISABLE;
  if (HAL_TIMEx_MasterConfigSynchronization(&htim2, &sMasterConfig) != HAL_OK)
  {
    Error_Handler();
  }
  sConfigIC.ICPolarity = TIM_INPUTCHANNELPOLARITY_RISING;
  sConfigIC.ICSelection = TIM_ICSELECTION_DIRECTTI;
  sConfigIC.ICPrescaler = TIM_ICPSC_DIV1;
  sConfigIC.ICFilter = 0;
  if (HAL_TIM_IC_ConfigChannel(&htim2, &sConfigIC, TIM_CHANNEL_1) != HAL_OK)
  {
    Error_Handler();
  }

}

static void MX_TIM3_Init(void)
{

  TIM_Encoder_InitTypeDef sConfig = {0};
  TIM_MasterConfigTypeDef sMasterConfig = {0};

  htim3.Instance = TIM3;
  htim3.Init.Prescaler = 0;
  htim3.Init.CounterMode = TIM_COUNTERMODE_UP;
  htim3.Init.Period = 3077;
  htim3.Init.ClockDivision = TIM_CLOCKDIVISION_DIV1;
  htim3.Init.AutoReloadPreload = TIM_AUTORELOAD_PRELOAD_DISABLE;
  sConfig.EncoderMode = TIM_ENCODERMODE_TI1;
  sConfig.IC1Polarity = TIM_ICPOLARITY_RISING;
  sConfig.IC1Selection = TIM_ICSELECTION_DIRECTTI;
  sConfig.IC1Prescaler = TIM_ICPSC_DIV1;
  sConfig.IC1Filter = 0;
  sConfig.IC2Polarity = TIM_ICPOLARITY_RISING;
  sConfig.IC2Selection = TIM_ICSELECTION_DIRECTTI;
  sConfig.IC2Prescaler = TIM_ICPSC_DIV1;
  sConfig.IC2Filter = 0;
  if (HAL_TIM_Encoder_Init(&htim3, &sConfig) != HAL_OK)
  {
    Error_Handler();
  }
  sMasterConfig.MasterOutputTrigger = TIM_TRGO_RESET;
  sMasterConfig.MasterSlaveMode = TIM_MASTERSLAVEMODE_DISABLE;
  if (HAL_TIMEx_MasterConfigSynchronization(&htim3, &sMasterConfig) != HAL_OK)
  {
    Error_Handler();
  }

}

static void MX_TIM4_Init(void)
{

  TIM_Encoder_InitTypeDef sConfig = {0};
  TIM_MasterConfigTypeDef sMasterConfig = {0};

  htim4.Instance = TIM4;
  htim4.Init.Prescaler = 0;
  htim4.Init.CounterMode = TIM_COUNTERMODE_UP;
  htim4.Init.Period = 65535;
  htim4.Init.ClockDivision = TIM_CLOCKDIVISION_DIV1;
  htim4.Init.AutoReloadPreload = TIM_AUTORELOAD_PRELOAD_DISABLE;
  sConfig.EncoderMode = TIM_ENCODERMODE_TI1;
  sConfig.IC1Polarity = TIM_ICPOLARITY_RISING;
  sConfig.IC1Selection = TIM_ICSELECTION_DIRECTTI;
  sConfig.IC1Prescaler = TIM_ICPSC_DIV1;
  sConfig.IC1Filter = 0;
  sConfig.IC2Polarity = TIM_ICPOLARITY_RISING;
  sConfig.IC2Selection = TIM_ICSELECTION_DIRECTTI;
  sConfig.IC2Prescaler = TIM_ICPSC_DIV1;
  sConfig.IC2Filter = 0;
  if (HAL_TIM_Encoder_Init(&htim4, &sConfig) != HAL_OK)
  {
    Error_Handler();
  }
  sMasterConfig.MasterOutputTrigger = TIM_TRGO_RESET;
  sMasterConfig.MasterSlaveMode = TIM_MASTERSLAVEMODE_DISABLE;
  if (HAL_TIMEx_MasterConfigSynchronization(&htim4, &sMasterConfig) != HAL_OK)
  {
    Error_Handler();
  }

}

static void MX_TIM5_Init(void)
{

  TIM_Encoder_InitTypeDef sConfig = {0};
  TIM_MasterConfigTypeDef sMasterConfig = {0};

  htim5.Instance = TIM5;
  htim5.Init.Prescaler = 0;
  htim5.Init.CounterMode = TIM_COUNTERMODE_UP;
  htim5.Init.Period = 3077;
  htim5.Init.ClockDivision = TIM_CLOCKDIVISION_DIV1;
  htim5.Init.AutoReloadPreload = TIM_AUTORELOAD_PRELOAD_DISABLE;
  sConfig.EncoderMode = TIM_ENCODERMODE_TI1;
  sConfig.IC1Polarity = TIM_ICPOLARITY_RISING;
  sConfig.IC1Selection = TIM_ICSELECTION_DIRECTTI;
  sConfig.IC1Prescaler = TIM_ICPSC_DIV1;
  sConfig.IC1Filter = 0;
  sConfig.IC2Polarity = TIM_ICPOLARITY_RISING;
  sConfig.IC2Selection = TIM_ICSELECTION_DIRECTTI;
  sConfig.IC2Prescaler = TIM_ICPSC_DIV1;
  sConfig.IC2Filter = 0;
  if (HAL_TIM_Encoder_Init(&htim5, &sConfig) != HAL_OK)
  {
    Error_Handler();
  }
  sMasterConfig.MasterOutputTrigger = TIM_TRGO_RESET;
  sMasterConfig.MasterSlaveMode = TIM_MASTERSLAVEMODE_DISABLE;
  if (HAL_TIMEx_MasterConfigSynchronization(&htim5, &sMasterConfig) != HAL_OK)
  {
    Error_Handler();
  }

}

static void MX_TIM7_Init(void)
{

  TIM_MasterConfigTypeDef sMasterConfig = {0};

  htim7.Instance = TIM7;
  htim7.Init.Prescaler = 15;
  htim7.Init.CounterMode = TIM_COUNTERMODE_UP;
  htim7.Init.Period = 65535;
  htim7.Init.AutoReloadPreload = TIM_AUTORELOAD_PRELOAD_DISABLE;
  if (HAL_TIM_Base_Init(&htim7) != HAL_OK)
  {
    Error_Handler();
  }
  sMasterConfig.MasterOutputTrigger = TIM_TRGO_RESET;
  sMasterConfig.MasterSlaveMode = TIM_MASTERSLAVEMODE_DISABLE;
  if (HAL_TIMEx_MasterConfigSynchronization(&htim7, &sMasterConfig) != HAL_OK)
  {
    Error_Handler();
  }

}

static void MX_TIM15_Init(void)
{

  TIM_MasterConfigTypeDef sMasterConfig = {0};
  TIM_OC_InitTypeDef sConfigOC = {0};
  TIM_BreakDeadTimeConfigTypeDef sBreakDeadTimeConfig = {0};

  htim15.Instance = TIM15;
  htim15.Init.Prescaler = 0;
  htim15.Init.CounterMode = TIM_COUNTERMODE_UP;
  htim15.Init.Period = 3077;
  htim15.Init.ClockDivision = TIM_CLOCKDIVISION_DIV1;
  htim15.Init.RepetitionCounter = 0;
  htim15.Init.AutoReloadPreload = TIM_AUTORELOAD_PRELOAD_ENABLE;
  if (HAL_TIM_PWM_Init(&htim15) != HAL_OK)
  {
    Error_Handler();
  }
  sMasterConfig.MasterOutputTrigger = TIM_TRGO_RESET;
  sMasterConfig.MasterSlaveMode = TIM_MASTERSLAVEMODE_DISABLE;
  if (HAL_TIMEx_MasterConfigSynchronization(&htim15, &sMasterConfig) != HAL_OK)
  {
    Error_Handler();
  }
  sConfigOC.OCMode = TIM_OCMODE_PWM1;
  sConfigOC.Pulse = 0;
  sConfigOC.OCPolarity = TIM_OCPOLARITY_HIGH;
  sConfigOC.OCNPolarity = TIM_OCNPOLARITY_HIGH;
  sConfigOC.OCFastMode = TIM_OCFAST_DISABLE;
  sConfigOC.OCIdleState = TIM_OCIDLESTATE_RESET;
  sConfigOC.OCNIdleState = TIM_OCNIDLESTATE_RESET;
  if (HAL_TIM_PWM_ConfigChannel(&htim15, &sConfigOC, TIM_CHANNEL_1) != HAL_OK)
  {
    Error_Handler();
  }
  sBreakDeadTimeConfig.OffStateRunMode = TIM_OSSR_DISABLE;
  sBreakDeadTimeConfig.OffStateIDLEMode = TIM_OSSI_DISABLE;
  sBreakDeadTimeConfig.LockLevel = TIM_LOCKLEVEL_OFF;
  sBreakDeadTimeConfig.DeadTime = 0;
  sBreakDeadTimeConfig.BreakState = TIM_BREAK_DISABLE;
  sBreakDeadTimeConfig.BreakPolarity = TIM_BREAKPOLARITY_HIGH;
  sBreakDeadTimeConfig.AutomaticOutput = TIM_AUTOMATICOUTPUT_DISABLE;
  if (HAL_TIMEx_ConfigBreakDeadTime(&htim15, &sBreakDeadTimeConfig) != HAL_OK)
  {
    Error_Handler();
  }
  HAL_TIM_MspPostInit(&htim15);

}

static void MX_GPIO_Init(void)
{
  GPIO_InitTypeDef GPIO_InitStruct = {0};

  /* GPIO Ports Clock Enable */
  __HAL_RCC_GPIOE_CLK_ENABLE();
  __HAL_RCC_GPIOC_CLK_ENABLE();
  __HAL_RCC_GPIOF_CLK_ENABLE();
  __HAL_RCC_GPIOH_CLK_ENABLE();
  __HAL_RCC_GPIOA_CLK_ENABLE();
  __HAL_RCC_GPIOB_CLK_ENABLE();
  __HAL_RCC_GPIOG_CLK_ENABLE();
  __HAL_RCC_GPIOD_CLK_ENABLE();
  HAL_PWREx_EnableVddIO2();

  /*Configure GPIO pin Output Level */
  HAL_GPIO_WritePin(GPIOE, WD_EN_Pin|WWDG_Pin|MZ_DIR_Pin|MY_DIR_Pin, GPIO_PIN_RESET);

  /*Configure GPIO pin Output Level */
  HAL_GPIO_WritePin(GPIOG, MCU_LED_Pin|FRAM_CS1_Pin, GPIO_PIN_RESET);

  /*Configure GPIO pin Output Level */
  HAL_GPIO_WritePin(GPIOB, QSPI_CS2_Pin|MX_DIR_Pin|I2C_EN_Pin, GPIO_PIN_RESET);

  /*Configure GPIO pin Output Level */
  HAL_GPIO_WritePin(GPIOD, FRAM_CS3_Pin|FRAM_CS2_Pin|GPS_EN_Pin|USER_3_Pin
                          |USER_2_Pin|USER_1_Pin|USER_0_Pin, GPIO_PIN_RESET);

  /*Configure GPIO pins : WD_EN_Pin WWDG_Pin MZ_DIR_Pin MY_DIR_Pin */
  GPIO_InitStruct.Pin = WD_EN_Pin|WWDG_Pin|MZ_DIR_Pin|MY_DIR_Pin;
  GPIO_InitStruct.Mode = GPIO_MODE_OUTPUT_PP;
  GPIO_InitStruct.Pull = GPIO_NOPULL;
  GPIO_InitStruct.Speed = GPIO_SPEED_FREQ_LOW;
  HAL_GPIO_Init(GPIOE, &GPIO_InitStruct);

  /*Configure GPIO pins : MCU_LED_Pin FRAM_CS1_Pin */
  GPIO_InitStruct.Pin = MCU_LED_Pin|FRAM_CS1_Pin;
  GPIO_InitStruct.Mode = GPIO_MODE_OUTPUT_PP;
  GPIO_InitStruct.Pull = GPIO_NOPULL;
  GPIO_InitStruct.Speed = GPIO_SPEED_FREQ_LOW;
  HAL_GPIO_Init(GPIOG, &GPIO_InitStruct);

  /*Configure GPIO pin : BLE_STATE_Pin */
  GPIO_InitStruct.Pin = BLE_STATE_Pin;
  GPIO_InitStruct.Mode = GPIO_MODE_INPUT;
  GPIO_InitStruct.Pull = GPIO_NOPULL;
  HAL_GPIO_Init(BLE_STATE_GPIO_Port, &GPIO_InitStruct);

  /*Configure GPIO pins : QSPI_CS2_Pin MX_DIR_Pin I2C_EN_Pin */
  GPIO_InitStruct.Pin = QSPI_CS2_Pin|MX_DIR_Pin|I2C_EN_Pin;
  GPIO_InitStruct.Mode = GPIO_MODE_OUTPUT_PP;
  GPIO_InitStruct.Pull = GPIO_NOPULL;
  GPIO_InitStruct.Speed = GPIO_SPEED_FREQ_LOW;
  HAL_GPIO_Init(GPIOB, &GPIO_InitStruct);

  /*Configure GPIO pins : FRAM_CS3_Pin FRAM_CS2_Pin GPS_EN_Pin USER_3_Pin
                           USER_2_Pin USER_1_Pin USER_0_Pin */
  GPIO_InitStruct.Pin = FRAM_CS3_Pin|FRAM_CS2_Pin|GPS_EN_Pin|USER_3_Pin
                          |USER_2_Pin|USER_1_Pin|USER_0_Pin;
  GPIO_InitStruct.Mode = GPIO_MODE_OUTPUT_PP;
  GPIO_InitStruct.Pull = GPIO_NOPULL;
  GPIO_InitStruct.Speed = GPIO_SPEED_FREQ_LOW;
  HAL_GPIO_Init(GPIOD, &GPIO_InitStruct);

  /*Configure GPIO pin : GPS_FIX_Pin */
  GPIO_InitStruct.Pin = GPS_FIX_Pin;
  GPIO_InitStruct.Mode = GPIO_MODE_INPUT;
  GPIO_InitStruct.Pull = GPIO_NOPULL;
  HAL_GPIO_Init(GPS_FIX_GPIO_Port, &GPIO_InitStruct);

}

/* USER CODE BEGIN 4 */

//encoder call
// This callback is automatically called by HAL when the timer period elapses
void HAL_TIM_PeriodElapsedCallback(TIM_HandleTypeDef* htim)
{
	if(htim->Instance == TIM7){
		//slang
		Motor_Calc(&htim4, &motor_x_var);
		Motor_Calc(&htim5, &motor_y_var);
		Motor_Calc(&htim3, &motor_z_var);

	}

/*    // Read the current value of TIM4's counter register (encoder position)
    counter = TIM4->CNT;

    // Calculate difference in counts since the last interrupt
    deltacount = (int32_t)counter - (int32_t)previousCounter;

    // --- Handle counter rollover/underflow ---

    // If the difference is very negative, it means the counter wrapped forward
    //this section is to prevent huge jumps in the bits

    if (deltacount <= -ENCODER_MAX_COUNT / 2){
        deltacount += ENCODER_MAX_COUNT + 1;
    }
    // If the difference is very positive, it means the counter wrapped backward
    else if (deltacount >= ENCODER_MAX_COUNT / 2){
        deltacount -= ENCODER_MAX_COUNT - 1;
    }
    // Convert counts per 0.01s into counts per second (velocity)
    // Assumes this function is called every 10 ms = 0.01 s
    //velocity = distance/time
    //basically encoder ticks in 0.01s/0.01s = ticks per second
    velocity = (float)deltacount / 0.01f;

    // Save current counter value for the next calculation
    previousCounter = counter;*/
}

/* USER CODE END 4 */

void Error_Handler(void)
{
  __disable_irq();
  while (1)
  {
  }
}
